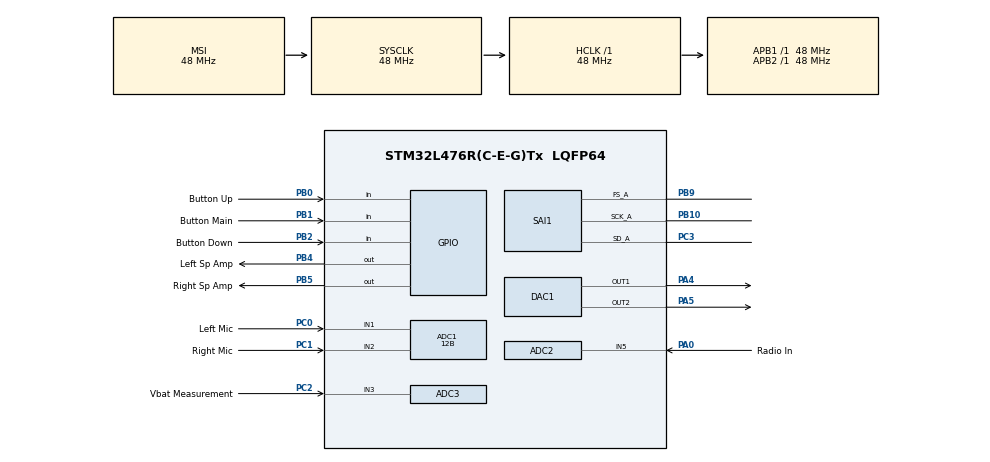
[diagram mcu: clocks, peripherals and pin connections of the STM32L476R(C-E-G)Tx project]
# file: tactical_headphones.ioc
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ADC1.Channel-4\#ChannelRegularConversion=ADC_CHANNEL_1
ADC1.ClockPrescaler=ADC_CLOCK_ASYNC_DIV256
ADC1.ContinuousConvMode=DISABLE
ADC1.DMAContinuousRequests=ENABLE
ADC1.DataAlign=ADC_DATAALIGN_RIGHT
ADC1.DiscontinuousConvMode=DISABLE
ADC1.EOCSelection=ADC_EOC_SINGLE_CONV
ADC1.EnableAnalogWatchDog1=false
ADC1.EnableAnalogWatchDog2=false
ADC1.EnableAnalogWatchDog3=false
ADC1.EnableInjectedConversion=DISABLE
ADC1.EnableRegularConversion=ENABLE
ADC1.ExternalTrigConv=ADC_SOFTWARE_START
ADC1.ExternalTrigConvEdge=ADC_EXTERNALTRIGCONVEDGE_NONE
ADC1.LowPowerAutoWait=DISABLE
ADC1.NbrOfConversion=1
ADC1.NbrOfConversionFlag=1
ADC1.OffsetNumber-4\#ChannelRegularConversion=ADC_OFFSET_NONE
ADC1.Overrun=ADC_OVR_DATA_PRESERVED
ADC1.OversamplingMode=ENABLE
ADC1.OversamplingStopReset=ADC_REGOVERSAMPLING_CONTINUED_MODE
ADC1.Rank-4\#ChannelRegularConversion=1
ADC1.Ratio=ADC_OVERSAMPLING_RATIO_4
ADC1.Resolution=ADC_RESOLUTION_12B
ADC1.RightBitShift=ADC_RIGHTBITSHIFT_NONE
ADC1.SamplingTime-4\#ChannelRegularConversion=ADC_SAMPLETIME_6CYCLES_5
ADC1.ScanConvMode=ADC_SCAN_DISABLE
ADC1.TriggeredMode=ADC_TRIGGEREDMODE_SINGLE_TRIGGER
ADC1.master=1
ADC2.Channel-8\#ChannelRegularConversion=ADC_CHANNEL_5
ADC2.ClockPrescaler=ADC_CLOCK_ASYNC_DIV256
ADC2.NbrOfConversionFlag=1
ADC2.OffsetNumber-8\#ChannelRegularConversion=ADC_OFFSET_NONE
ADC2.Rank-8\#ChannelRegularConversion=1
ADC2.SamplingTime-8\#ChannelRegularConversion=ADC_SAMPLETIME_2CYCLES_5
ADC3.Channel-0\#ChannelRegularConversion=ADC_CHANNEL_3
ADC3.ClockPrescaler=ADC_CLOCK_ASYNC_DIV256
ADC3.ContinuousConvMode=ENABLE
ADC3.DMAContinuousRequests=DISABLE
ADC3.DataAlign=ADC_DATAALIGN_RIGHT
ADC3.DiscontinuousConvMode=DISABLE
ADC3.EOCSelection=ADC_EOC_SINGLE_CONV
ADC3.EnableAnalogWatchDog1=false
ADC3.EnableAnalogWatchDog2=false
ADC3.EnableAnalogWatchDog3=false
ADC3.EnableInjectedConversion=DISABLE
ADC3.EnableRegularConversion=ENABLE
ADC3.ExternalTrigConv=ADC_SOFTWARE_START
ADC3.ExternalTrigConvEdge=ADC_EXTERNALTRIGCONVEDGE_NONE
ADC3.LowPowerAutoWait=DISABLE
ADC3.NbrOfConversion=1
ADC3.NbrOfConversionFlag=1
ADC3.OffsetNumber-0\#ChannelRegularConversion=ADC_OFFSET_NONE
ADC3.Overrun=ADC_OVR_DATA_PRESERVED
ADC3.OversamplingMode=DISABLE
ADC3.Rank-0\#ChannelRegularConversion=1
ADC3.Resolution=ADC_RESOLUTION_12B
ADC3.SamplingTime-0\#ChannelRegularConversion=ADC_SAMPLETIME_12CYCLES_5
ADC3.ScanConvMode=ADC_SCAN_DISABLE
DAC1.DAC_Channel-DAC_OUT2=DAC_CHANNEL_2
DAC1.DAC_Trigger-DAC_OUT1=DAC_TRIGGER_T6_TRGO
Dma.ADC1.1.Direction=DMA_PERIPH_TO_MEMORY
Dma.ADC1.1.Instance=DMA2_Channel3
Dma.ADC1.1.MemDataAlignment=DMA_MDATAALIGN_HALFWORD
Dma.ADC1.1.MemInc=DMA_MINC_ENABLE
Dma.ADC1.1.Mode=DMA_CIRCULAR
Dma.ADC1.1.PeriphDataAlignment=DMA_PDATAALIGN_HALFWORD
Dma.ADC1.1.PeriphInc=DMA_PINC_DISABLE
Dma.ADC1.1.Priority=DMA_PRIORITY_HIGH
Dma.DAC_CH1.0.Direction=DMA_MEMORY_TO_PERIPH
Dma.DAC_CH1.0.Instance=DMA1_Channel3
Dma.DAC_CH1.0.MemDataAlignment=DMA_MDATAALIGN_WORD
Dma.DAC_CH1.0.MemInc=DMA_MINC_ENABLE
Dma.DAC_CH1.0.Mode=DMA_CIRCULAR
Dma.DAC_CH1.0.PeriphDataAlignment=DMA_PDATAALIGN_WORD
Dma.DAC_CH1.0.PeriphInc=DMA_PINC_DISABLE
Dma.DAC_CH1.0.Priority=DMA_PRIORITY_LOW
Dma.Request0=DAC_CH1
Dma.Request1=ADC1
Mcu.Family=STM32L4
Mcu.Name=STM32L476R(C-E-G)Tx
Mcu.Package=LQFP64
NVIC.ADC3_IRQn=true\:0\:0\:false\:false\:true\:true
NVIC.DMA1_Channel3_IRQn=true\:0\:0\:false\:false\:true\:false
NVIC.DMA2_Channel3_IRQn=true\:0\:0\:false\:false\:true\:false
NVIC.PriorityGroup=NVIC_PRIORITYGROUP_4
NVIC.TIM3_IRQn=true\:0\:0\:false\:false\:true\:true
PA0.GPIO_Label=Radio In
PA0.Signal=ADCx_IN5
PA4.Signal=COMP_DAC11_group
PA5.Signal=COMP_DAC12_group
PB0.GPIO_Label=Button Up
PB0.Signal=GPIO_Input
PB1.GPIO_Label=Button Main
PB1.Signal=GPIO_Input
PB10.Mode=SAI_A_Master
PB10.Signal=SAI1_SCK_A
PB2.GPIO_Label=Button Down
PB2.Signal=GPIO_Input
PB4\ (NJTRST).GPIO_Label=Left Sp Amp
PB4\ (NJTRST).GPIO_PuPd=GPIO_PULLUP
PB4\ (NJTRST).Signal=GPIO_Output
PB5.GPIO_Label=Right Sp Amp
PB5.GPIO_PuPd=GPIO_PULLUP
PB5.Signal=GPIO_Output
PB9.Mode=SAI_A_Master
PB9.Signal=SAI1_FS_A
PC0.GPIO_Label=Left Mic
PC0.Signal=ADCx_IN1
PC1.GPIO_Label=Right Mic
PC1.Signal=ADCx_IN2
PC2.GPIO_Label=Vbat Measurement
PC2.Signal=ADCx_IN3
PC3.Mode=SAI_A_Master
PC3.Signal=SAI1_SD_A
ProjectManager.HeapSize=0x200
ProjectManager.StackSize=0x400
ProjectManager.TargetToolchain=SW4STM32
RCC.ADCCLockSelection=RCC_ADCCLKSOURCE_PLLSAI2
RCC.ADCFreq_Value=60000000
RCC.AHBFreq_Value=48000000
RCC.APB1Freq_Value=48000000
RCC.APB1TimFreq_Value=48000000
RCC.APB2Freq_Value=48000000
RCC.APB2TimFreq_Value=48000000
RCC.CortexFreq_Value=48000000
RCC.HCLKFreq_Value=48000000
RCC.HSE_VALUE=8000000
RCC.HSI_VALUE=16000000
RCC.LSE_VALUE=32768
RCC.MSIClockRange=RCC_MSIRANGE_11
RCC.MSI_VALUE=48000000
RCC.PLLM=4
RCC.PLLN=10
RCC.PLLSAI1P=RCC_PLLP_DIV17
RCC.PLLSAI1R=RCC_PLLR_DIV4
RCC.PLLSAI2N=10
RCC.SYSCLKFreq_VALUE=48000000
RCC.USBFreq_Value=48000000
RCC.VCOOutputFreq_Value=120000000
SAI1.Instance-SAI_A_Master=SAI$Index_Block_A
SAI1.MClockEnable-SAI_A_Master=SAI_MASTERCLOCK_DISABLE
SAI1.Synchro-SAI_A_Master=SAI_ASYNCHRONOUS
SAI1.VirtualMode-SAI_A_Master=VM_MASTER
SH.ADCx_IN1.0=ADC1_IN1,IN1-Single-Ended
SH.ADCx_IN2.0=ADC1_IN2,IN2-Single-Ended
SH.ADCx_IN3.0=ADC3_IN3,IN3-Single-Ended
SH.ADCx_IN5.0=ADC2_IN5,IN5-Single-Ended
SH.COMP_DAC11_group.0=DAC1_OUT1,DAC_OUT1
SH.COMP_DAC12_group.0=DAC1_OUT2,DAC_OUT2
TIM3.Period=150
TIM3.Prescaler=10000
TIM6.Period=400
TIM6.TIM_MasterOutputTrigger=TIM_TRGO_UPDATE
VP_ADC3_Vbat_Input.Mode=IN-Vbat
VP_TIM3_VS_ClockSourceINT.Mode=Internal
VP_TIM6_VS_ClockSourceINT.Mode=Enable_Timer
board=custom

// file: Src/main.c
/**
  ******************************************************************************
  * @file           : main.c
  * @brief          : Main program body
  ******************************************************************************
  ** This notice applies to any and all portions of this file
  * that are not between comment pairs USER CODE BEGIN and
  * USER CODE END. Other portions of this file, whether
  * inserted by the user or by software development tools
  * are owned by their respective copyright owners.
  *
  * COPYRIGHT(c) 2019 STMicroelectronics
  *
  * Redistribution and use in source and binary forms, with or without modification,
  * are permitted provided that the following conditions are met:
  *   1. Redistributions of source code must retain the above copyright notice,
  *      this list of conditions and the following disclaimer.
  *   2. Redistributions in binary form must reproduce the above copyright notice,
  *      this list of conditions and the following disclaimer in the documentation
  *      and/or other materials provided with the distribution.
  *   3. Neither the name of STMicroelectronics nor the names of its contributors
  *      may be used to endorse or promote products derived from this software
  *      without specific prior written permission.
  *
  * THIS SOFTWARE IS PROVIDED BY THE COPYRIGHT HOLDERS AND CONTRIBUTORS "AS IS"
  * AND ANY EXPRESS OR IMPLIED WARRANTIES, INCLUDING, BUT NOT LIMITED TO, THE
  * IMPLIED WARRANTIES OF MERCHANTABILITY AND FITNESS FOR A PARTICULAR PURPOSE ARE
  * DISCLAIMED. IN NO EVENT SHALL THE COPYRIGHT HOLDER OR CONTRIBUTORS BE LIABLE
  * FOR ANY DIRECT, INDIRECT, INCIDENTAL, SPECIAL, EXEMPLARY, OR CONSEQUENTIAL
  * DAMAGES (INCLUDING, BUT NOT LIMITED TO, PROCUREMENT OF SUBSTITUTE GOODS OR
  * SERVICES; LOSS OF USE, DATA, OR PROFITS; OR BUSINESS INTERRUPTION) HOWEVER
  * CAUSED AND ON ANY THEORY OF LIABILITY, WHETHER IN CONTRACT, STRICT LIABILITY,
  * OR TORT (INCLUDING NEGLIGENCE OR OTHERWISE) ARISING IN ANY WAY OUT OF THE USE
  * OF THIS SOFTWARE, EVEN IF ADVISED OF THE POSSIBILITY OF SUCH DAMAGE.
  *
  ******************************************************************************
  */
#include "main.h"
#include "stm32l4xx_hal.h"

/* USER CODE BEGIN Includes */
#include "microphone.h"
#include "speaker.h"
#include "system.h"
#include "battery.h"

/* USER CODE END Includes */

ADC_HandleTypeDef hadc1;
ADC_HandleTypeDef hadc2;
ADC_HandleTypeDef hadc3;
DMA_HandleTypeDef hdma_adc1;

DAC_HandleTypeDef hdac1;
DMA_HandleTypeDef hdma_dac_ch1;

SAI_HandleTypeDef hsai_BlockA1;

TIM_HandleTypeDef htim3;
TIM_HandleTypeDef htim6;

/* USER CODE BEGIN PV */
/* Private variables ---------------------------------------------------------*/
const uint32_t sine_wave_array[32] = {2047, 1648, 1264, 910, 600,  345,
                    156, 39,  0,  39,  156,  345,
                    600, 910, 1264, 1648, 2048, 2447,
                    2831, 3185, 3495, 3750, 3939, 4056,
                    4095, 4056, 3939, 3750, 3495, 3185,
                    2831, 2447};

float sound_level_control = 1.0;
uint8_t system_state  = OFF;
struct Buttons_action Buttons_actions;

uint16_t ADC1_flag = 5;
uint16_t ADC3_flag = 5;
uint16_t DAC_flag = 5;
uint16_t TIM_flag = 5;

uint32_t microphone;
uint32_t speaker_output[1];
float battery_voltage;

uint32_t mic_averaged;
uint32_t mic_mean_level;

int adc_type;

/* USER CODE END PV */

void SystemClock_Config(void);
static void MX_GPIO_Init(void);
static void MX_DMA_Init(void);
static void MX_TIM6_Init(void);
static void MX_ADC1_Init(void);
static void MX_DAC1_Init(void);
static void MX_ADC3_Init(void);
static void MX_SAI1_Init(void);
static void MX_ADC2_Init(void);
static void MX_TIM3_Init(void);

/* USER CODE BEGIN PFP */
/* Private function prototypes -----------------------------------------------*/

void HAL_ADC_ConvCpltCallback( ADC_HandleTypeDef * hadc){
	if(hadc->Instance == hadc3.Instance){
		ADC3_flag = 1;
		if(BAT_GetLevelPercent(&hadc3) < 10){
			GoToSleep();
		}
	}

	if(hadc->Instance == hadc1.Instance){
		ADC1_flag = 1;
	}

	MIC_AddToMeanLevel(microphone);
	MIC_AddToAverage(microphone);
	mic_averaged = MIC_GetAverage();
	mic_mean_level = MIC_GetMeanLevel();

	speaker_output[0] = SPKR_CalculateOutput(mic_averaged, mic_mean_level, sound_level_control);

	HAL_DAC_Start(&hdac1, DAC_CHANNEL_1);
	HAL_DAC_Start_DMA(&hdac1, DAC_CHANNEL_1, (uint32_t *) speaker_output, 1, DAC_ALIGN_12B_R);
}

void HAL_DAC_ConvCpltCallbackCh1( DAC_HandleTypeDef * hdac){
	DAC_flag = 1;

	//Pause DAC to minimize interruption
	HAL_DAC_Stop_DMA(&hdac1, DAC_CHANNEL_1);
	HAL_ADC_Start_DMA(&hadc1, &microphone, 1);
}

void HAL_TIM_PeriodElapsedCallback( TIM_HandleTypeDef * htim){
	if(htim->Instance == htim3.Instance) {
		Buttons_actions = SYS_HandleButtons(Buttons_states);

		if(Buttons_actions.Up == SHORT) sound_level_control += 0.2;
		if(Buttons_actions.Down == SHORT) sound_level_control -= 0.2;
		if(Buttons_actions.Main == LONG) {
			switch(system_state){
			case ON: // Sleep the headphones
				GoToSleep();
				break;

			case OFF: // Wake up the headphones
				WakeUp();
				break;
			}
		}
	}
}

/* USER CODE END PFP */

int main(void)
{

  /* MCU Configuration----------------------------------------------------------*/

  /* Reset of all peripherals, Initializes the Flash interface and the Systick. */
  HAL_Init();

  /* Configure the system clock */
  SystemClock_Config();

  /* Initialize all configured peripherals */
  MX_GPIO_Init();
  MX_DMA_Init();
  MX_TIM6_Init();
  MX_ADC1_Init();
  MX_DAC1_Init();
  MX_ADC3_Init();
  MX_SAI1_Init();
  MX_ADC2_Init();
  MX_TIM3_Init();
  /* USER CODE BEGIN 2 */

  /***** ADC *****/
//  HAL_ADC_Start_DMA(&hadc1, &microphone, 1);
//  HAL_ADC_Start_IT(&hadc3);
//
//  /***** DAC *****/
//  HAL_TIM_Base_Start(&htim6);

  /**** KEYS *****/
  HAL_TIM_Base_Start_IT(&htim3);	//30ms period

  /* USER CODE END 2 */

  /* Infinite loop */
  while (1)
  {

  }

}

void SystemClock_Config(void)
{

  RCC_OscInitTypeDef RCC_OscInitStruct;
  RCC_ClkInitTypeDef RCC_ClkInitStruct;
  RCC_PeriphCLKInitTypeDef PeriphClkInit;

    /**Initializes the CPU, AHB and APB busses clocks
    */
  RCC_OscInitStruct.OscillatorType = RCC_OSCILLATORTYPE_MSI;
  RCC_OscInitStruct.MSIState = RCC_MSI_ON;
  RCC_OscInitStruct.MSICalibrationValue = 0;
  RCC_OscInitStruct.MSIClockRange = RCC_MSIRANGE_11;
  RCC_OscInitStruct.PLL.PLLState = RCC_PLL_NONE;
  if (HAL_RCC_OscConfig(&RCC_OscInitStruct) != HAL_OK)
  {
    _Error_Handler(__FILE__, __LINE__);
  }

    /**Initializes the CPU, AHB and APB busses clocks
    */
  RCC_ClkInitStruct.ClockType = RCC_CLOCKTYPE_HCLK|RCC_CLOCKTYPE_SYSCLK
                              |RCC_CLOCKTYPE_PCLK1|RCC_CLOCKTYPE_PCLK2;
  RCC_ClkInitStruct.SYSCLKSource = RCC_SYSCLKSOURCE_MSI;
  RCC_ClkInitStruct.AHBCLKDivider = RCC_SYSCLK_DIV1;
  RCC_ClkInitStruct.APB1CLKDivider = RCC_HCLK_DIV1;
  RCC_ClkInitStruct.APB2CLKDivider = RCC_HCLK_DIV1;

  if (HAL_RCC_ClockConfig(&RCC_ClkInitStruct, FLASH_LATENCY_2) != HAL_OK)
  {
    _Error_Handler(__FILE__, __LINE__);
  }

  PeriphClkInit.PeriphClockSelection = RCC_PERIPHCLK_SAI1|RCC_PERIPHCLK_ADC;
  PeriphClkInit.Sai1ClockSelection = RCC_SAI1CLKSOURCE_PLLSAI1;
  PeriphClkInit.AdcClockSelection = RCC_ADCCLKSOURCE_PLLSAI2;
  PeriphClkInit.PLLSAI2.PLLSAI2Source = RCC_PLLSOURCE_MSI;
  PeriphClkInit.PLLSAI2.PLLSAI2M = 4;
  PeriphClkInit.PLLSAI2.PLLSAI2N = 10;
  PeriphClkInit.PLLSAI2.PLLSAI2P = RCC_PLLP_DIV7;
  PeriphClkInit.PLLSAI2.PLLSAI2R = RCC_PLLR_DIV2;
  PeriphClkInit.PLLSAI2.PLLSAI2ClockOut = RCC_PLLSAI2_ADC2CLK;
  PeriphClkInit.PLLSAI1.PLLSAI1Source = RCC_PLLSOURCE_MSI;
  PeriphClkInit.PLLSAI1.PLLSAI1M = 4;
  PeriphClkInit.PLLSAI1.PLLSAI1N = 8;
  PeriphClkInit.PLLSAI1.PLLSAI1P = RCC_PLLP_DIV17;
  PeriphClkInit.PLLSAI1.PLLSAI1Q = RCC_PLLQ_DIV2;
  PeriphClkInit.PLLSAI1.PLLSAI1R = RCC_PLLR_DIV4;
  PeriphClkInit.PLLSAI1.PLLSAI1ClockOut = RCC_PLLSAI1_SAI1CLK;
  if (HAL_RCCEx_PeriphCLKConfig(&PeriphClkInit) != HAL_OK)
  {
    _Error_Handler(__FILE__, __LINE__);
  }

    /**Configure the main internal regulator output voltage
    */
  if (HAL_PWREx_ControlVoltageScaling(PWR_REGULATOR_VOLTAGE_SCALE1) != HAL_OK)
  {
    _Error_Handler(__FILE__, __LINE__);
  }

    /**Configure the Systick interrupt time
    */
  HAL_SYSTICK_Config(HAL_RCC_GetHCLKFreq()/1000);

    /**Configure the Systick
    */
  HAL_SYSTICK_CLKSourceConfig(SYSTICK_CLKSOURCE_HCLK);

  /* SysTick_IRQn interrupt configuration */
  HAL_NVIC_SetPriority(SysTick_IRQn, 0, 0);
}

/* ADC1 init function */
static void MX_ADC1_Init(void)
{

  ADC_MultiModeTypeDef multimode;
  ADC_ChannelConfTypeDef sConfig;

    /**Common config
    */
  hadc1.Instance = ADC1;
  hadc1.Init.ClockPrescaler = ADC_CLOCK_ASYNC_DIV256;
  hadc1.Init.Resolution = ADC_RESOLUTION_12B;
  hadc1.Init.DataAlign = ADC_DATAALIGN_RIGHT;
  hadc1.Init.ScanConvMode = ADC_SCAN_DISABLE;
  hadc1.Init.EOCSelection = ADC_EOC_SINGLE_CONV;
  hadc1.Init.LowPowerAutoWait = DISABLE;
  hadc1.Init.ContinuousConvMode = DISABLE;
  hadc1.Init.NbrOfConversion = 1;
  hadc1.Init.DiscontinuousConvMode = DISABLE;
  hadc1.Init.NbrOfDiscConversion = 1;
  hadc1.Init.ExternalTrigConv = ADC_SOFTWARE_START;
  hadc1.Init.ExternalTrigConvEdge = ADC_EXTERNALTRIGCONVEDGE_NONE;
  hadc1.Init.DMAContinuousRequests = ENABLE;
  hadc1.Init.Overrun = ADC_OVR_DATA_PRESERVED;
  hadc1.Init.OversamplingMode = ENABLE;
  hadc1.Init.Oversampling.Ratio = ADC_OVERSAMPLING_RATIO_4;
  hadc1.Init.Oversampling.RightBitShift = ADC_RIGHTBITSHIFT_NONE;
  hadc1.Init.Oversampling.TriggeredMode = ADC_TRIGGEREDMODE_SINGLE_TRIGGER;
  hadc1.Init.Oversampling.OversamplingStopReset = ADC_REGOVERSAMPLING_CONTINUED_MODE;
  if (HAL_ADC_Init(&hadc1) != HAL_OK)
  {
    _Error_Handler(__FILE__, __LINE__);
  }

    /**Configure the ADC multi-mode
    */
  multimode.Mode = ADC_MODE_INDEPENDENT;
  if (HAL_ADCEx_MultiModeConfigChannel(&hadc1, &multimode) != HAL_OK)
  {
    _Error_Handler(__FILE__, __LINE__);
  }

    /**Configure Regular Channel
    */
  sConfig.Channel = ADC_CHANNEL_1;
  sConfig.Rank = ADC_REGULAR_RANK_1;
  sConfig.SamplingTime = ADC_SAMPLETIME_6CYCLES_5;
  sConfig.SingleDiff = ADC_SINGLE_ENDED;
  sConfig.OffsetNumber = ADC_OFFSET_NONE;
  sConfig.Offset = 0;
  if (HAL_ADC_ConfigChannel(&hadc1, &sConfig) != HAL_OK)
  {
    _Error_Handler(__FILE__, __LINE__);
  }

}

/* ADC2 init function */
static void MX_ADC2_Init(void)
{

  ADC_ChannelConfTypeDef sConfig;

    /**Common config
    */
  hadc2.Instance = ADC2;
  hadc2.Init.ClockPrescaler = ADC_CLOCK_ASYNC_DIV256;
  hadc2.Init.Resolution = ADC_RESOLUTION_12B;
  hadc2.Init.DataAlign = ADC_DATAALIGN_RIGHT;
  hadc2.Init.ScanConvMode = ADC_SCAN_DISABLE;
  hadc2.Init.EOCSelection = ADC_EOC_SINGLE_CONV;
  hadc2.Init.LowPowerAutoWait = DISABLE;
  hadc2.Init.ContinuousConvMode = DISABLE;
  hadc2.Init.NbrOfConversion = 1;
  hadc2.Init.DiscontinuousConvMode = DISABLE;
  hadc2.Init.NbrOfDiscConversion = 1;
  hadc2.Init.ExternalTrigConv = ADC_SOFTWARE_START;
  hadc2.Init.ExternalTrigConvEdge = ADC_EXTERNALTRIGCONVEDGE_NONE;
  hadc2.Init.DMAContinuousRequests = DISABLE;
  hadc2.Init.Overrun = ADC_OVR_DATA_PRESERVED;
  hadc2.Init.OversamplingMode = DISABLE;
  if (HAL_ADC_Init(&hadc2) != HAL_OK)
  {
    _Error_Handler(__FILE__, __LINE__);
  }

    /**Configure Regular Channel
    */
  sConfig.Channel = ADC_CHANNEL_5;
  sConfig.Rank = ADC_REGULAR_RANK_1;
  sConfig.SamplingTime = ADC_SAMPLETIME_2CYCLES_5;
  sConfig.SingleDiff = ADC_SINGLE_ENDED;
  sConfig.OffsetNumber = ADC_OFFSET_NONE;
  sConfig.Offset = 0;
  if (HAL_ADC_ConfigChannel(&hadc2, &sConfig) != HAL_OK)
  {
    _Error_Handler(__FILE__, __LINE__);
  }

}

/* ADC3 init function */
static void MX_ADC3_Init(void)
{

  ADC_ChannelConfTypeDef sConfig;

    /**Common config
    */
  hadc3.Instance = ADC3;
  hadc3.Init.ClockPrescaler = ADC_CLOCK_ASYNC_DIV256;
  hadc3.Init.Resolution = ADC_RESOLUTION_12B;
  hadc3.Init.DataAlign = ADC_DATAALIGN_RIGHT;
  hadc3.Init.ScanConvMode = ADC_SCAN_DISABLE;
  hadc3.Init.EOCSelection = ADC_EOC_SINGLE_CONV;
  hadc3.Init.LowPowerAutoWait = DISABLE;
  hadc3.Init.ContinuousConvMode = ENABLE;
  hadc3.Init.NbrOfConversion = 1;
  hadc3.Init.DiscontinuousConvMode = DISABLE;
  hadc3.Init.NbrOfDiscConversion = 1;
  hadc3.Init.ExternalTrigConv = ADC_SOFTWARE_START;
  hadc3.Init.ExternalTrigConvEdge = ADC_EXTERNALTRIGCONVEDGE_NONE;
  hadc3.Init.DMAContinuousRequests = DISABLE;
  hadc3.Init.Overrun = ADC_OVR_DATA_PRESERVED;
  hadc3.Init.OversamplingMode = DISABLE;
  if (HAL_ADC_Init(&hadc3) != HAL_OK)
  {
    _Error_Handler(__FILE__, __LINE__);
  }

    /**Configure Regular Channel
    */
  sConfig.Channel = ADC_CHANNEL_3;
  sConfig.Rank = ADC_REGULAR_RANK_1;
  sConfig.SamplingTime = ADC_SAMPLETIME_12CYCLES_5;
  sConfig.SingleDiff = ADC_SINGLE_ENDED;
  sConfig.OffsetNumber = ADC_OFFSET_NONE;
  sConfig.Offset = 0;
  if (HAL_ADC_ConfigChannel(&hadc3, &sConfig) != HAL_OK)
  {
    _Error_Handler(__FILE__, __LINE__);
  }

}

/* DAC1 init function */
static void MX_DAC1_Init(void)
{

  DAC_ChannelConfTypeDef sConfig;

    /**DAC Initialization
    */
  hdac1.Instance = DAC1;
  if (HAL_DAC_Init(&hdac1) != HAL_OK)
  {
    _Error_Handler(__FILE__, __LINE__);
  }

    /**DAC channel OUT1 config
    */
  sConfig.DAC_SampleAndHold = DAC_SAMPLEANDHOLD_DISABLE;
  sConfig.DAC_Trigger = DAC_TRIGGER_T6_TRGO;
  sConfig.DAC_OutputBuffer = DAC_OUTPUTBUFFER_ENABLE;
  sConfig.DAC_ConnectOnChipPeripheral = DAC_CHIPCONNECT_DISABLE;
  sConfig.DAC_UserTrimming = DAC_TRIMMING_FACTORY;
  if (HAL_DAC_ConfigChannel(&hdac1, &sConfig, DAC_CHANNEL_1) != HAL_OK)
  {
    _Error_Handler(__FILE__, __LINE__);
  }

    /**DAC channel OUT2 config
    */
  sConfig.DAC_Trigger = DAC_TRIGGER_NONE;
  sConfig.DAC_ConnectOnChipPeripheral = DAC_CHIPCONNECT_DISABLE;
  if (HAL_DAC_ConfigChannel(&hdac1, &sConfig, DAC_CHANNEL_2) != HAL_OK)
  {
    _Error_Handler(__FILE__, __LINE__);
  }

}

/* SAI1 init function */
static void MX_SAI1_Init(void)
{

  hsai_BlockA1.Instance = SAI1_Block_A;
  hsai_BlockA1.Init.Protocol = SAI_FREE_PROTOCOL;
  hsai_BlockA1.Init.AudioMode = SAI_MODEMASTER_TX;
  hsai_BlockA1.Init.DataSize = SAI_DATASIZE_24;
  hsai_BlockA1.Init.FirstBit = SAI_FIRSTBIT_MSB;
  hsai_BlockA1.Init.ClockStrobing = SAI_CLOCKSTROBING_FALLINGEDGE;
  hsai_BlockA1.Init.Synchro = SAI_ASYNCHRONOUS;
  hsai_BlockA1.Init.OutputDrive = SAI_OUTPUTDRIVE_DISABLE;
  hsai_BlockA1.Init.NoDivider = SAI_MASTERDIVIDER_ENABLE;
  hsai_BlockA1.Init.FIFOThreshold = SAI_FIFOTHRESHOLD_EMPTY;
  hsai_BlockA1.Init.AudioFrequency = SAI_AUDIO_FREQUENCY_192K;
  hsai_BlockA1.Init.SynchroExt = SAI_SYNCEXT_DISABLE;
  hsai_BlockA1.Init.MonoStereoMode = SAI_STEREOMODE;
  hsai_BlockA1.Init.CompandingMode = SAI_NOCOMPANDING;
  hsai_BlockA1.Init.TriState = SAI_OUTPUT_NOTRELEASED;
  hsai_BlockA1.FrameInit.FrameLength = 8;
  hsai_BlockA1.FrameInit.ActiveFrameLength = 1;
  hsai_BlockA1.FrameInit.FSDefinition = SAI_FS_STARTFRAME;
  hsai_BlockA1.FrameInit.FSPolarity = SAI_FS_ACTIVE_LOW;
  hsai_BlockA1.FrameInit.FSOffset = SAI_FS_FIRSTBIT;
  hsai_BlockA1.SlotInit.FirstBitOffset = 0;
  hsai_BlockA1.SlotInit.SlotSize = SAI_SLOTSIZE_DATASIZE;
  hsai_BlockA1.SlotInit.SlotNumber = 1;
  hsai_BlockA1.SlotInit.SlotActive = 0x00000000;
  if (HAL_SAI_Init(&hsai_BlockA1) != HAL_OK)
  {
    _Error_Handler(__FILE__, __LINE__);
  }

}

/* TIM3 init function */
static void MX_TIM3_Init(void)
{

  TIM_ClockConfigTypeDef sClockSourceConfig;
  TIM_MasterConfigTypeDef sMasterConfig;

  htim3.Instance = TIM3;
  htim3.Init.Prescaler = 10000;
  htim3.Init.CounterMode = TIM_COUNTERMODE_UP;
  htim3.Init.Period = 150;
  htim3.Init.ClockDivision = TIM_CLOCKDIVISION_DIV1;
  htim3.Init.AutoReloadPreload = TIM_AUTORELOAD_PRELOAD_DISABLE;
  if (HAL_TIM_Base_Init(&htim3) != HAL_OK)
  {
    _Error_Handler(__FILE__, __LINE__);
  }

  sClockSourceConfig.ClockSource = TIM_CLOCKSOURCE_INTERNAL;
  if (HAL_TIM_ConfigClockSource(&htim3, &sClockSourceConfig) != HAL_OK)
  {
    _Error_Handler(__FILE__, __LINE__);
  }

  sMasterConfig.MasterOutputTrigger = TIM_TRGO_RESET;
  sMasterConfig.MasterSlaveMode = TIM_MASTERSLAVEMODE_DISABLE;
  if (HAL_TIMEx_MasterConfigSynchronization(&htim3, &sMasterConfig) != HAL_OK)
  {
    _Error_Handler(__FILE__, __LINE__);
  }

}

/* TIM6 init function */
static void MX_TIM6_Init(void)
{

  TIM_MasterConfigTypeDef sMasterConfig;

  htim6.Instance = TIM6;
  htim6.Init.Prescaler = 0;
  htim6.Init.CounterMode = TIM_COUNTERMODE_UP;
  htim6.Init.Period = 400;
  htim6.Init.AutoReloadPreload = TIM_AUTORELOAD_PRELOAD_DISABLE;
  if (HAL_TIM_Base_Init(&htim6) != HAL_OK)
  {
    _Error_Handler(__FILE__, __LINE__);
  }

  sMasterConfig.MasterOutputTrigger = TIM_TRGO_UPDATE;
  sMasterConfig.MasterSlaveMode = TIM_MASTERSLAVEMODE_DISABLE;
  if (HAL_TIMEx_MasterConfigSynchronization(&htim6, &sMasterConfig) != HAL_OK)
  {
    _Error_Handler(__FILE__, __LINE__);
  }

}

static void MX_DMA_Init(void)
{
  /* DMA controller clock enable */
  __HAL_RCC_DMA1_CLK_ENABLE();
  __HAL_RCC_DMA2_CLK_ENABLE();

  /* DMA interrupt init */
  /* DMA1_Channel3_IRQn interrupt configuration */
  HAL_NVIC_SetPriority(DMA1_Channel3_IRQn, 0, 0);
  HAL_NVIC_EnableIRQ(DMA1_Channel3_IRQn);
  /* DMA2_Channel3_IRQn interrupt configuration */
  HAL_NVIC_SetPriority(DMA2_Channel3_IRQn, 0, 0);
  HAL_NVIC_EnableIRQ(DMA2_Channel3_IRQn);

}

/** Configure pins as
        * Analog
        * Input
        * Output
        * EVENT_OUT
        * EXTI
*/
static void MX_GPIO_Init(void)
{

  GPIO_InitTypeDef GPIO_InitStruct;

  /* GPIO Ports Clock Enable */
  __HAL_RCC_GPIOC_CLK_ENABLE();
  __HAL_RCC_GPIOA_CLK_ENABLE();
  __HAL_RCC_GPIOB_CLK_ENABLE();

  /*Configure GPIO pin Output Level */
  HAL_GPIO_WritePin(GPIOB, Left_Sp_Amp_Pin|Right_Sp_Amp_Pin, GPIO_PIN_RESET);

  /*Configure GPIO pins : Button_Up_Pin Button_Main_Pin Button_Down_Pin */
  GPIO_InitStruct.Pin = Button_Up_Pin|Button_Main_Pin|Button_Down_Pin;
  GPIO_InitStruct.Mode = GPIO_MODE_INPUT;
  GPIO_InitStruct.Pull = GPIO_NOPULL;
  HAL_GPIO_Init(GPIOB, &GPIO_InitStruct);

  /*Configure GPIO pins : Left_Sp_Amp_Pin Right_Sp_Amp_Pin */
  GPIO_InitStruct.Pin = Left_Sp_Amp_Pin|Right_Sp_Amp_Pin;
  GPIO_InitStruct.Mode = GPIO_MODE_OUTPUT_PP;
  GPIO_InitStruct.Pull = GPIO_PULLUP;
  GPIO_InitStruct.Speed = GPIO_SPEED_FREQ_LOW;
  HAL_GPIO_Init(GPIOB, &GPIO_InitStruct);

}

/* USER CODE BEGIN 4 */

void GoToSleep(void){
	// Disable left and right microphone conversion
	HAL_ADC_Stop_DMA(&hadc1);
	// Disable left and right speaker conversion
	HAL_TIM_Base_Stop(&htim6);
	// Disable battery voltage measurement
	HAL_ADC_Stop_IT(&hadc3);
	// Disable speakers amplifiers
	HAL_GPIO_WritePin(Left_Sp_Amp_GPIO_Port, Left_Sp_Amp_Pin, OFF);
	HAL_GPIO_WritePin(Right_Sp_Amp_GPIO_Port, Right_Sp_Amp_Pin, OFF);
}

void WakeUp(void){
	// Enable left and right microphone conversion
	HAL_ADC_Start_DMA(&hadc1, &microphone, 1);
	// Enable left and right speaker conversion
	HAL_TIM_Base_Start(&htim6);
	// Enable battery voltage measurement
	HAL_ADC_Start_IT(&hadc3);
	// Enable speakers amplifiers
	HAL_GPIO_WritePin(Left_Sp_Amp_GPIO_Port, Left_Sp_Amp_Pin, ON);
	HAL_GPIO_WritePin(Right_Sp_Amp_GPIO_Port, Right_Sp_Amp_Pin, ON);
}

/* USER CODE END 4 */

void _Error_Handler(char *file, int line)
{
  while(1)
  {
  }
}

/************************ (C) COPYRIGHT STMicroelectronics *****END OF FILE****/
